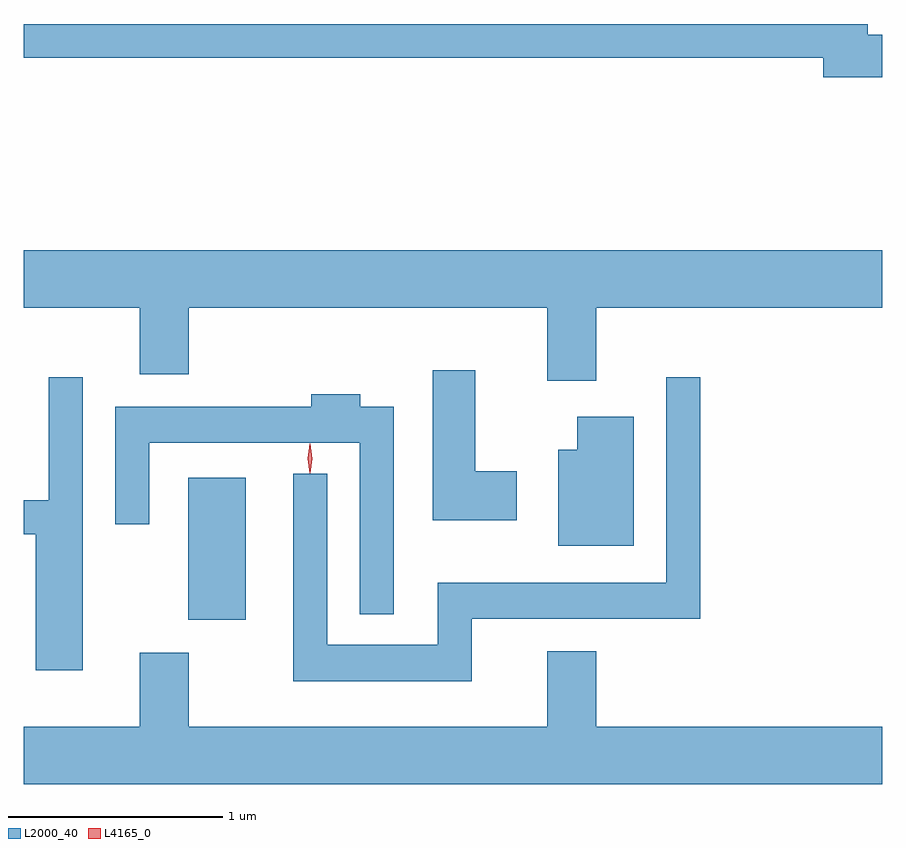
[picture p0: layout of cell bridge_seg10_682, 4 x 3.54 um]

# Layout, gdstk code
import gdstk
lib = gdstk.Library(unit=1e-6, precision=1e-09)
def R(c, l, rs):  # rectangles x0, y0, x1, y1
    for r in rs: c.add(gdstk.rectangle(r[:2], r[2:], *l))
def P(c, l, *ps):  # polygons
    for p in ps: c.add(gdstk.Polygon(p, *l))
L2000_40 = (2000, 40)
L4165_0 = (4165, 0)

bridge_seg10_682 = lib.new_cell('bridge_seg10_682')
R(bridge_seg10_682, L2000_40, [(959.336,2092.481,959.604,2093.144)])
P(bridge_seg10_682, L2000_40, [(962.571,2095.209),(962.504,2095.209),(962.504,2095.259),(958.571,2095.259),(958.571,2095.101),(962.296,2095.101),(962.296,2095.011),(962.571,2095.011)],
  [(961.239,2093.936),(962.571,2093.936),(962.571,2094.204),(958.571,2094.204),(958.571,2093.936),(959.111,2093.936),(959.111,2093.626),(959.339,2093.626),(959.339,2093.936),(961.011,2093.936),(961.011,2093.596),(961.239,2093.596)],
  [(960.869,2093.174),(960.674,2093.174),(960.674,2093.644),(960.476,2093.644),(960.476,2092.946),(960.869,2092.946)],
  [(958.844,2093.613),(958.686,2093.613),(958.686,2093.039),(958.571,2093.039),(958.571,2092.881),(958.626,2092.881),(958.626,2092.246),(958.844,2092.246)],
  [(960.659,2092.486),(961.724,2092.486),(961.724,2093.613),(961.566,2093.613),(961.566,2092.654),(960.501,2092.654),(960.501,2092.364),(959.984,2092.364),(959.984,2093.163),(959.826,2093.163),(959.826,2092.196),(960.659,2092.196)],
  [(960.294,2093.474),(960.139,2093.474),(960.139,2093.534),(959.911,2093.534),(959.911,2093.474),(958.996,2093.474),(958.996,2092.928),(959.154,2092.928),(959.154,2093.306),(960.136,2093.306),(960.136,2092.508),(960.294,2092.508)],
  [(961.414,2093.429),(961.151,2093.429),(961.151,2093.274),(961.061,2093.274),(961.061,2092.826),(961.414,2092.826)],
  [(962.571,2091.984),(961.239,2091.984),(961.239,2092.334),(961.011,2092.334),(961.011,2091.984),(959.339,2091.984),(959.339,2092.329),(959.111,2092.329),(959.111,2091.984),(958.571,2091.984),(958.571,2091.716),(962.571,2091.716)])
P(bridge_seg10_682, L4165_0, [(959.904,2093.164),(959.895,2093.233),(959.904,2093.302),(959.905,2093.303),(959.905,2093.302),(959.915,2093.233),(959.905,2093.164),(959.905,2093.164)],
  [(959.903,2093.167),(959.903,2093.167),(959.893,2093.234),(959.903,2093.3),(959.903,2093.301),(959.904,2093.3),(959.913,2093.234),(959.904,2093.167)])

lib.write_gds('bridge_seg10_682.gds')
